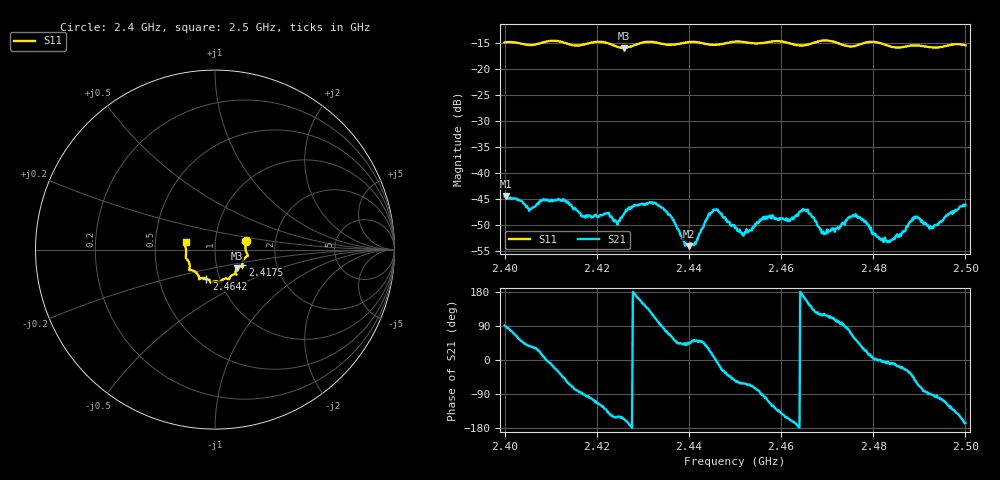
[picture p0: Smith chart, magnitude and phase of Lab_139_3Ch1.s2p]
# Hz S RI R 50
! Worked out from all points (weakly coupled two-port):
!   601 points, 2.4 GHz to 2.5 GHz, reference 50 ohm
!   highest |S21| = -44.36 dB at 2.4003 GHz (marker M1); lowest = -54.0 dB at 2.44 GHz (marker M2)
!   lowest |S11| = -15.9 dB at 2.4258 GHz (marker M3), VSWR 1.38, Z = 62.3 - j13.2 ohm
!   |S11| at or under -10 dB: start of sweep to end of sweep
!   S12 and S22 are empty: the file has one direction only
!   S11 on the Smith chart (normalised r, x): 2.4 GHz: 1.41, +0.14; 2.4175 GHz: 1.34, -0.23; 2.4642 GHz: 0.86, -0.29; 2.5 GHz: 0.72, +0.06
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2.4e9  0.1738 0.0493  -8.24e-05 0.00596  0 0  0 0
2.400333e9  0.1746 0.0478  0.000278 0.00605  0 0  0 0
2.4055e9  0.1699 0.00853  0.00367 0.00269  0 0  0 0
2.412833e9  0.1759 -0.0395  0.0039 -0.00403  0 0  0 0
2.416667e9  0.1529 -0.0742  0.00018 -0.00386  0 0  0 0
2.4175e9  0.152 -0.0837  -0.000203 -0.00373  0 0  0 0
2.424333e9  0.134 -0.0949  -0.00298 -0.00167  0 0  0 0
2.425833e9  0.1218 -0.1031  -0.00362 -0.00168  0 0  0 0
2.433333e9  0.1135 -0.137  -0.000846 0.00483  0 0  0 0
2.44e9  0.0791 -0.1638  0.00146 0.00136  0 0  0 0
2.4455e9  0.0517 -0.1627  0.00446 0.000441  0 0  0 0
2.45e9  0.0288 -0.1812  0.00174 -0.00242  0 0  0 0
2.451833e9  0.0234 -0.1805  0.00118 -0.00221  0 0  0 0
2.456333e9  -0.00879 -0.1789  -0.000383 -0.00363  0 0  0 0
2.464167e9  -0.0481 -0.1614  -0.0043 1.39e-05  0 0  0 0
2.466667e9  -0.0762 -0.159  -0.00278 0.00262  0 0  0 0
2.469333e9  -0.0885 -0.1662  -0.00125 0.00227  0 0  0 0
2.4765e9  -0.122 -0.1169  0.00252 0.00298  0 0  0 0
2.483333e9  -0.1407 -0.0897  0.00215 -0.000306  0 0  0 0
2.489e9  -0.1629 -0.0447  0.0023 -0.00306  0 0  0 0
2.492667e9  -0.1607 -0.0179  -9.39e-05 -0.00296  0 0  0 0
2.5e9  -0.1638 0.0425  -0.00483 -0.00115  0 0  0 0
